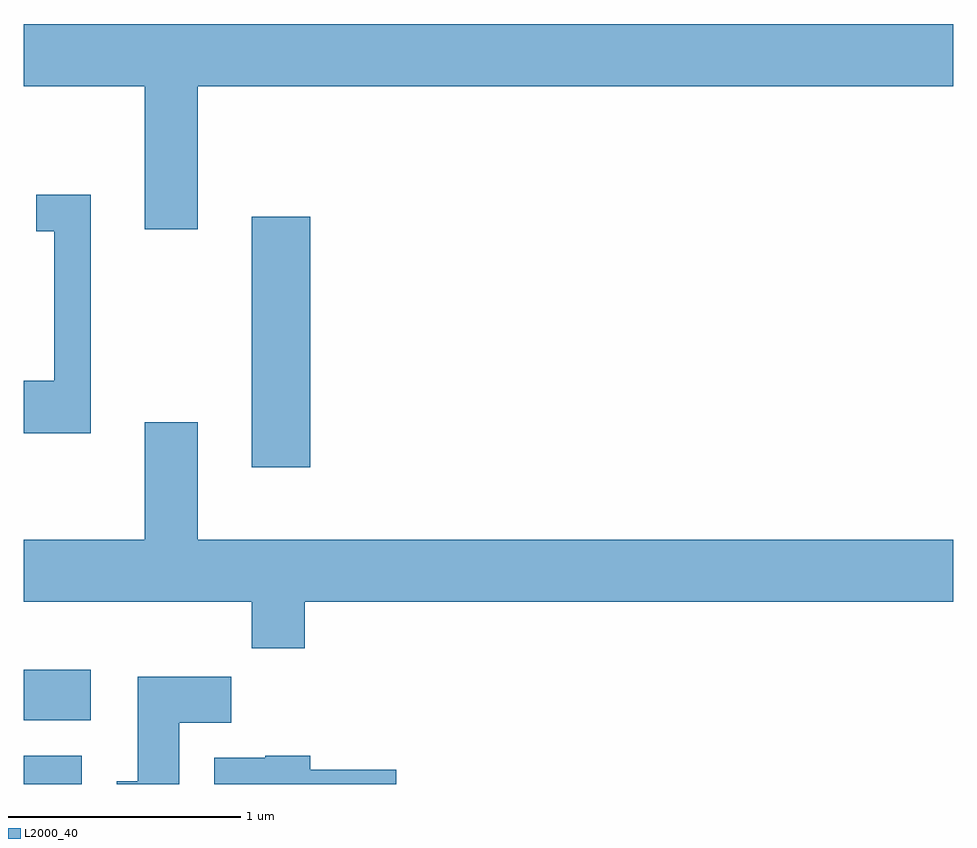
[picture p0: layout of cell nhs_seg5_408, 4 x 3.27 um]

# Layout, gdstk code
import gdstk
lib = gdstk.Library(unit=1e-6, precision=1e-09)
def R(c, l, rs):  # rectangles x0, y0, x1, y1
    for r in rs: c.add(gdstk.rectangle(r[:2], r[2:], *l))
def P(c, l, *ps):  # polygons
    for p in ps: c.add(gdstk.Polygon(p, *l))
L2000_40 = (2000, 40)

nhs_seg5_408 = lib.new_cell('nhs_seg5_408')
R(nhs_seg5_408, L2000_40, [(197.611,1396.072,197.859,1396.194), (197.611,1396.346,197.899,1396.564), (198.591,1397.436,198.844,1398.514)])
P(nhs_seg5_408, L2000_40, [(198.359,1399.076),(201.611,1399.076),(201.611,1399.344),(197.611,1399.344),(197.611,1399.076),(198.131,1399.076),(198.131,1398.461),(198.359,1398.461)],
  [(197.899,1398.609),(197.663,1398.609),(197.663,1398.451),(197.741,1398.451),(197.741,1397.809),(197.611,1397.809),(197.611,1397.581),(197.899,1397.581)],
  [(198.819,1396.856),(201.611,1396.856),(201.611,1397.124),(198.359,1397.124),(198.359,1397.629),(198.131,1397.629),(198.131,1397.124),(197.611,1397.124),(197.611,1396.856),(198.591,1396.856),(198.591,1396.656),(198.819,1396.656)],
  [(198.279,1396.336),(198.504,1396.336),(198.504,1396.534),(198.101,1396.534),(198.101,1396.084),(198.011,1396.084),(198.011,1396.072),(198.279,1396.072)],
  [(199.214,1396.134),(198.844,1396.134),(198.844,1396.194),(198.65,1396.194),(198.65,1396.184),(198.431,1396.184),(198.431,1396.072),(199.214,1396.072)])

lib.write_gds('nhs_seg5_408.gds')
